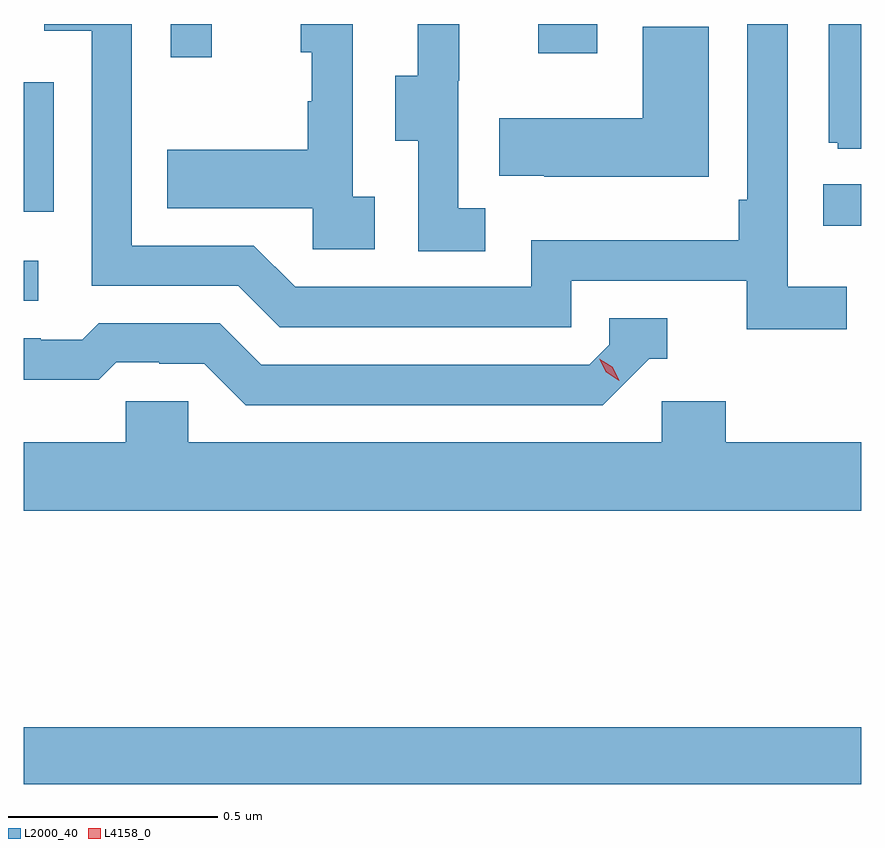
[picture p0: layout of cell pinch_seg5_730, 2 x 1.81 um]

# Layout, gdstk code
import gdstk
lib = gdstk.Library(unit=1e-6, precision=1e-09)
def R(c, l, rs):  # rectangles x0, y0, x1, y1
    for r in rs: c.add(gdstk.rectangle(r[:2], r[2:], *l))
def P(c, l, *ps):  # polygons
    for p in ps: c.add(gdstk.Polygon(p, *l))
L2000_40 = (2000, 40)
L4158_0 = (4158, 0)

pinch_seg5_730 = lib.new_cell('pinch_seg5_730')
R(pinch_seg5_730, L2000_40, [(1081.614,844.12,1083.614,844.256), (1081.614,845.274,1081.648,845.37), (1083.523,845.453,1083.614,845.552), (1081.614,845.487,1081.686,845.796), (1081.965,845.856,1082.063,845.935), (1082.843,845.865,1082.983,845.935)])
P(pinch_seg5_730, L2000_40, [(1083.58,845.308),(1083.438,845.308),(1083.438,845.935),(1083.342,845.935),(1083.342,845.515),(1083.322,845.515),(1083.322,845.419),(1082.826,845.419),(1082.826,845.307),(1082.262,845.307),(1082.163,845.406),(1081.872,845.406),(1081.872,845.935),(1081.663,845.935),(1081.663,845.919),(1081.776,845.919),(1081.776,845.31),(1082.126,845.31),(1082.225,845.211),(1082.922,845.211),(1082.922,845.322),(1083.341,845.322),(1083.341,845.206),(1083.58,845.206)],
  [(1082.716,845.495),(1082.652,845.495),(1082.652,845.799),(1082.654,845.799),(1082.654,845.935),(1082.555,845.935),(1082.555,845.811),(1082.501,845.811),(1082.501,845.656),(1082.556,845.656),(1082.556,845.392),(1082.716,845.392)],
  [(1083.614,845.935),(1083.536,845.935),(1083.536,845.652),(1083.558,845.652),(1083.558,845.637),(1083.614,845.637)],
  [(1082.452,845.522),(1082.4,845.522),(1082.4,845.935),(1082.276,845.935),(1082.276,845.868),(1082.302,845.868),(1082.302,845.75),(1082.292,845.75),(1082.292,845.635),(1081.957,845.635),(1081.957,845.495),(1082.304,845.495),(1082.304,845.397),(1082.452,845.397)],
  [(1083.25,845.929),(1083.092,845.929),(1083.092,845.71),(1082.749,845.71),(1082.749,845.573),(1082.857,845.573),(1082.857,845.57),(1083.25,845.57)],
  [(1083.108,845.136),(1083.151,845.136),(1083.151,845.232),(1083.012,845.232),(1083.012,845.169),(1082.964,845.121),(1082.181,845.121),(1082.082,845.22),(1081.793,845.22),(1081.754,845.181),(1081.655,845.181),(1081.655,845.184),(1081.614,845.184),(1081.614,845.085),(1081.793,845.085),(1081.835,845.127),(1081.938,845.127),(1081.938,845.124),(1082.045,845.124),(1082.144,845.025),(1082.997,845.025)],
  [(1083.614,844.936),(1083.29,844.936),(1083.29,845.034),(1083.138,845.034),(1083.138,844.936),(1082.007,844.936),(1082.007,845.034),(1081.857,845.034),(1081.857,844.936),(1081.614,844.936),(1081.614,844.772),(1083.614,844.772)])
P(pinch_seg5_730, L4158_0, [(1083.036,845.083),(1083.005,845.103),(1082.988,845.135),(1082.988,845.135),(1082.988,845.135),(1083.019,845.116),(1083.036,845.084),(1083.036,845.083)])

lib.write_gds('pinch_seg5_730.gds')
